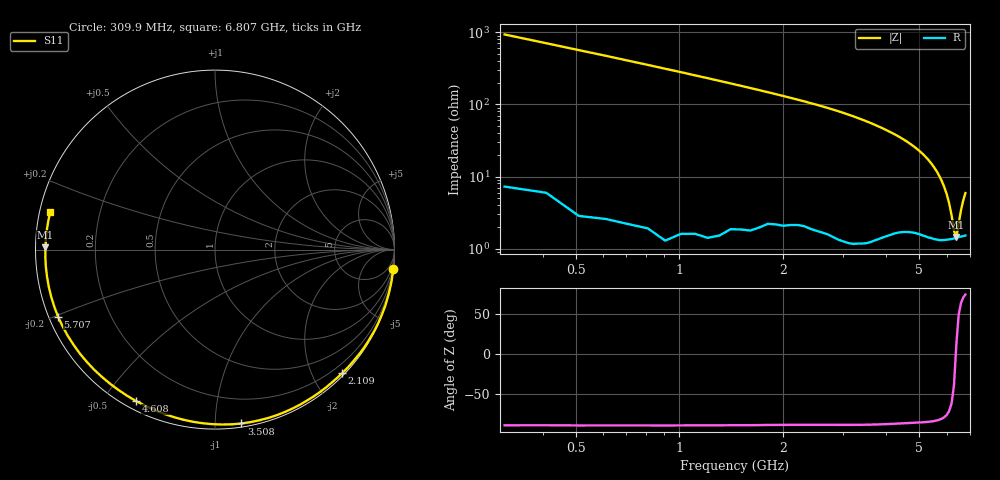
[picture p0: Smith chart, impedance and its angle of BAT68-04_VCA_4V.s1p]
! Infineon Technologies  Discrete & RF Semiconductors
! BAT68-04
! VCA = 4 V
! One-Port S-Parameters
# Hz  S  MA  R  50
!f  S11
!Hz  Mag  Ang
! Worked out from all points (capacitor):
!   66 points, 309.9 MHz to 6.807 GHz, reference 50 ohm
!   read as one part to ground: C = 549 fF near 309.9 MHz
!   lowest |Z| = 1.45 ohm at 6.407 GHz (marker M1)
!   series resonance near 6.385 GHz, so ESL is about 1.1 nH
!   S11 on the Smith chart (normalised r, x): 309.9 MHz: 0, -19; 2.109 GHz: 0.04, -2.46; 3.508 GHz: 0.02, -1.16; 4.608 GHz: 0.03, -0.61; 5.707 GHz: 0.03, -0.20; 6.807 GHz: 0.03, +0.11
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3.0985e8  0.9992 -6.1
5.0975e8  0.9991 -10.1
8.096e8  0.9985 -16.1
1.2094e9  0.9975 -24.4
1.6092e9  0.9943 -33.0
2.009e9  0.9895 -41.9
2.10895e9  0.988 -44.2
2.50875e9  0.9858 -53.6
2.8086e9  0.9852 -61.3
3.0085e9  0.985 -66.6
3.2084e9  0.9839 -72.3
3.50825e9  0.98 -81.3
3.6082e9  0.9779 -84.4
3.8081e9  0.9728 -90.8
4.008e9  0.967 -97.3
4.2079e9  0.9609 -103.9
4.4078e9  0.9553 -110.7
4.6077e9  0.9515 -117.6
4.90755e9  0.9487 -128.0
5.2074e9  0.9494 -138.8
5.50725e9  0.9506 -149.7
5.70715e9  0.9509 -156.9
5.90705e9  0.9496 -164.0
6.007e9  0.9489 -167.4
6.2069e9  0.9472 -174.2
6.4068e9  0.945 179.3
6.6067e9  0.9431 173.0
6.8066e9  0.9417 167.0
